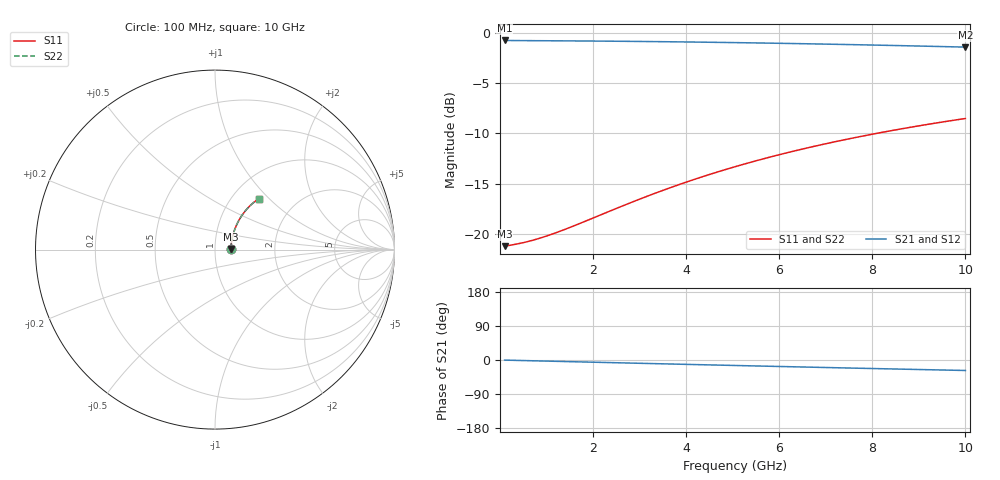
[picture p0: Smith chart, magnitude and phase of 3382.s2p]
# Hz S RI R 50.00
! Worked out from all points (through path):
!   100 points, 100 MHz to 10 GHz, reference 50 ohm
!   highest |S21| = -0.79 dB at 100 MHz (marker M1); lowest = -1.5 dB at 10 GHz (marker M2)
!   group delay of S21, straight-line fit = 7.71 ps
!   lowest |S11| = -21.2 dB at 100 MHz (marker M3), VSWR 1.19, Z = 59.5 + j0.426 ohm
!   |S11| at or under -10 dB: start of sweep to 8.11 GHz
!   |S22| runs from -21.2 to -8.5 dB; largest |S21 - S12| = 0
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1e8  0.0869 0.00355  0.9131 -0.00464  0.9131 -0.00464  0.0869 0.00355
3e8  0.088 0.0106  0.912 -0.0139  0.912 -0.0139  0.088 0.0106
5e8  0.0888 0.0177  0.9112 -0.0231  0.9112 -0.0231  0.0888 0.0177
7e8  0.0897 0.0247  0.9103 -0.0323  0.9103 -0.0323  0.0897 0.0247
9e8  0.0906 0.0318  0.9094 -0.0415  0.9094 -0.0415  0.0906 0.0318
1.1e9  0.0916 0.0387  0.9083 -0.0507  0.9083 -0.0507  0.0916 0.0387
1.3e9  0.0927 0.0457  0.9072 -0.0598  0.9072 -0.0598  0.0927 0.0457
1.8e9  0.096 0.063  0.9038 -0.0825  0.9038 -0.0825  0.096 0.063
2.7e9  0.1038 0.0935  0.8957 -0.1228  0.8957 -0.1228  0.1038 0.0935
3.4e9  0.1117 0.1165  0.8876 -0.1534  0.8876 -0.1534  0.1117 0.1165
3.8e9  0.1168 0.1293  0.8823 -0.1706  0.8823 -0.1706  0.1168 0.1293
4.2e9  0.1224 0.1419  0.8765 -0.1875  0.8765 -0.1875  0.1224 0.1419
4.6e9  0.1284 0.1541  0.8702 -0.2041  0.8702 -0.2041  0.1284 0.1541
5.1e9  0.1366 0.169  0.8618 -0.2244  0.8618 -0.2244  0.1366 0.169
5.5e9  0.1436 0.1806  0.8545 -0.2403  0.8545 -0.2403  0.1436 0.1806
5.9e9  0.151 0.1917  0.8468 -0.2559  0.8468 -0.2559  0.151 0.1917
6.3e9  0.1587 0.2026  0.8388 -0.2711  0.8388 -0.2711  0.1587 0.2026
6.7e9  0.1668 0.213  0.8303 -0.2859  0.8303 -0.2859  0.1668 0.213
7.5e9  0.184 0.2327  0.8124 -0.3144  0.8124 -0.3144  0.184 0.2327
8.4e9  0.2047 0.253  0.7909 -0.3445  0.7909 -0.3445  0.2047 0.253
9.2e9  0.2241 0.2691  0.7706 -0.3695  0.7706 -0.3695  0.2241 0.2691
1e10  0.2442 0.2836  0.7495 -0.3929  0.7495 -0.3929  0.2442 0.2836
